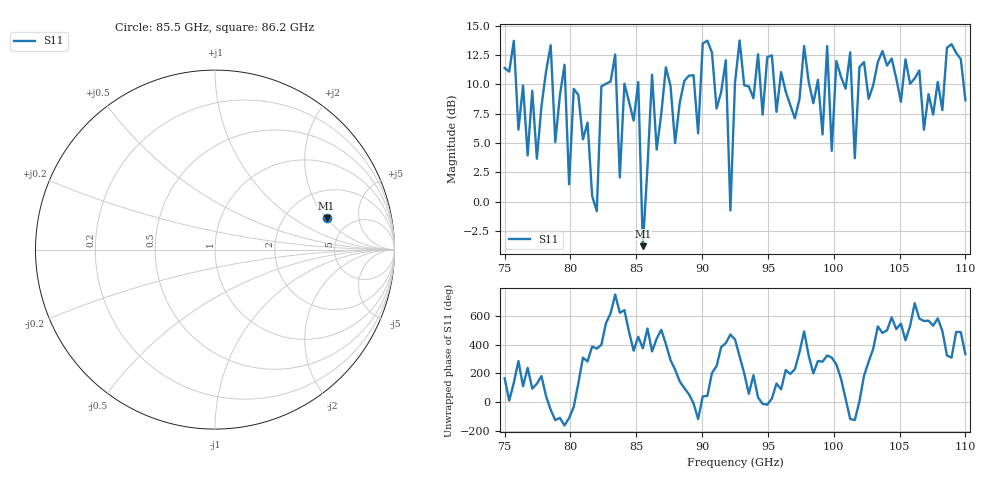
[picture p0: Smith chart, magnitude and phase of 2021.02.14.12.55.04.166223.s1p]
!Created with skrf (http://scikit-rf.org).
# GHz S RI R 50.0
!freq ReS11 ImS11
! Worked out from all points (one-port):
!   101 points, 75 GHz to 110 GHz, reference 50 ohm
!   lowest |S11| = -3.8 dB at 85.5 GHz (marker M1), VSWR 4.65, Z = 167 + j101 ohm
!   |S11| at or under -10 dB: nowhere
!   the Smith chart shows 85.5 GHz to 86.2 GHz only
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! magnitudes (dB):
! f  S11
! 75 GHz  11.4
! 77.45 GHz  3.7
! 79.55 GHz  11.7
! 79.9 GHz  1.5
! 80.25 GHz  9.6
! 82 GHz  -0.8
! 82.35 GHz  9.8
! 83.4 GHz  12.5
! 83.75 GHz  2.1
! 84.1 GHz  10.1
! 85.15 GHz  10.2
! 85.5 GHz  -3.8
! 86.2 GHz  10.8
! 86.55 GHz  4.4
! 88.3 GHz  8.4
! 91.8 GHz  12.1
! 92.15 GHz  -0.7
! 92.5 GHz  10.1
! 97.05 GHz  7.1
! 97.75 GHz  13.3
! 99.15 GHz  5.7
! 99.5 GHz  13.3
! 99.85 GHz  4.3
! 101.2 GHz  12.7
! 101.6 GHz  3.7
! 102 GHz  11.5
! 105.8 GHz  10.0
! 110 GHz  8.6
